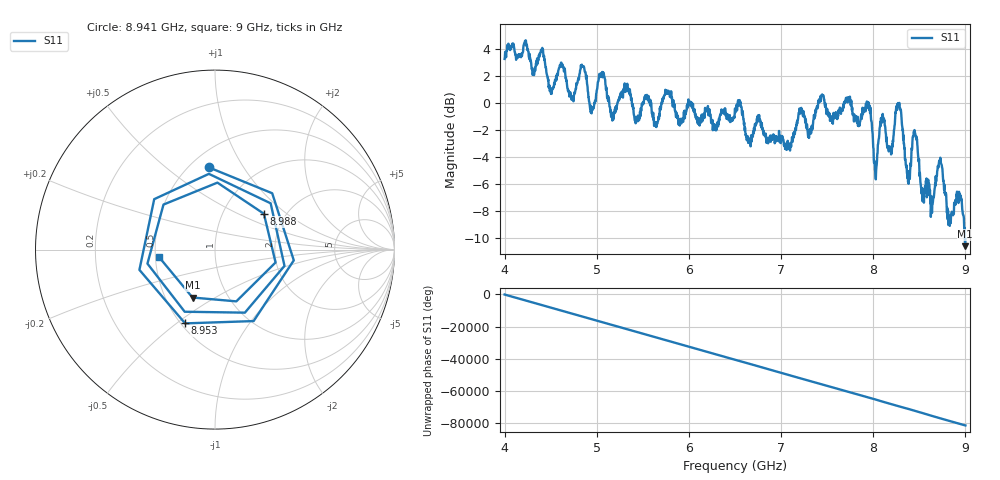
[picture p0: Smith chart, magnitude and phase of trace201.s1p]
! Created with skrf 1.8.0 (http://scikit-rf.org).
# Hz S RI R 50.0
!freq ReS11 ImS11
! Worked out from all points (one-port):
!   1601 points, 4 GHz to 9 GHz, reference 50 ohm
!   lowest |S11| = -10.6 dB at 8.997 GHz (marker M1), VSWR 1.84, Z = 34.1 - j20 ohm
!   |S11| at or under -10 dB: 8.99359 GHz to end of sweep
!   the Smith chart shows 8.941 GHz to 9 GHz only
!   S11 on the Smith chart (normalised r, x): 8.941 GHz: 0.61, +0.71; 8.953 GHz: 0.53, -0.54; 8.988 GHz: 1.56, +0.70; 9 GHz: 0.52, -0.05
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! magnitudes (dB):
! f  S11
! 4 GHz  3.3
! 4.625 GHz  2.9
! 4.728 GHz  0.2
! 4.853 GHz  2.7
! 4.947 GHz  -0.5
! 5.05 GHz  2.1
! 5.162 GHz  -1.0
! 5.25 GHz  0.4
! 5.875 GHz  -1.1
! 6.5 GHz  -0.4
! 7.125 GHz  -2.9
! 7.75 GHz  0.3
! 7.947 GHz  -0.1
! 8.025 GHz  -5.3
! 8.094 GHz  -1.1
! 8.184 GHz  -3.3
! 8.275 GHz  -0.1
! 8.375 GHz  -5.0
! 8.45 GHz  -2.0
! 8.534 GHz  -7.3
! 8.644 GHz  -7.4
! 8.725 GHz  -4.2
! 8.825 GHz  -8.4
! 8.941 GHz  -6.7
! 8.953 GHz  -7.1
! 8.988 GHz  -9.4
! 8.997 GHz  -10.6
! 9 GHz  -10.1
